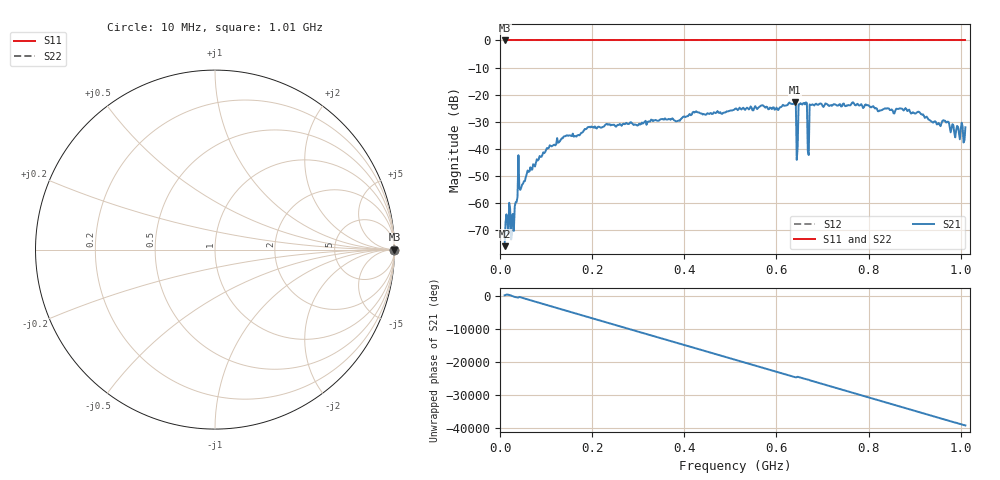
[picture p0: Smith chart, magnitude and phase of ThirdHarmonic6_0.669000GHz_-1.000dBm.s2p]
! 8/15/2025 10:16:29 PM
! C:\ANRITSUVNA\TEMP\TEMP.S2P
! CHANNEL.1
! TR.MEASUREMENT
! RAW.DATA
! RF.CORRECTION.OFF
! AVERAGING.OFF
! IF.BANDWIDTH: 5KHZ
! SWEEPTYPE:  FREQ.SWEEP(Linear)
! Reference Plane Port Info
! PORT:  PORT1  PORT2
! DISTANCE:  0  m  0  m
! TIME:  0  s  0  s
! PHASE.OFFSET:  0  deg.  0  deg.
! LOSS:  0  dB  0  dB
! REF.LOSS:  0  dB  0  dB
! REF.FREQ:  0  Hz  0  Hz
! Power Info
! POWER:  -20  dBm  -20  dBm
! EFF.POWER:  -20  dBm  -20  dBm
! SOURCE.ATTEN:  0  dB  0  dB
! TEST.ATTEN:  0  dB  0  dB
# GHZ S RI R 50.0
! FREQ.GHZ  S11RE  S11IM  S21RE  S21IM  S12RE  S12IM  S22RE  S22IM
!; PortSelection: Port_12
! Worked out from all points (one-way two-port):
!   501 points, 10 MHz to 1.01 GHz, reference 50 ohm
!   highest |S21| = -22.80 dB at 640 MHz (marker M1); lowest = -76.0 dB at 10 MHz (marker M2)
!   lowest |S11| = 0.0 dB at 10 MHz (marker M3)
!   |S11| at or under -10 dB: nowhere
!   |S22| runs from 0.0 to 0.0 dB; largest |S21 - S12| = 1.1
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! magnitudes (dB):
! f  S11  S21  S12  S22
! 10 MHz  0.0  -76.0  0.0  0.0
! 18 MHz  0.0  -71.6  0.0  0.0
! 28 MHz  0.0  -64.1  0.0  0.0
! 34 MHz  0.0  -59.8  0.0  0.0
! 36 MHz  0.0  -59.7  0.0  0.0
! 44 MHz  0.0  -55.2  0.0  0.0
! 46 MHz  0.0  -54.4  0.0  0.0
! 106 MHz  0.0  -39.7  0.0  0.0
! 178 MHz  0.0  -34.1  0.0  0.0
! 344 MHz  0.0  -29.7  0.0  0.0
! 510 MHz  0.0  -25.3  0.0  0.0
! 638 MHz  0.0  -23.1  0.0  0.0
! 640 MHz  0.0  -22.8  0.0  0.0
! 648 MHz  0.0  -23.6  0.0  0.0
! 652 MHz  0.0  -23.2  0.0  0.0
! 662 MHz  0.0  -23.6  0.0  0.0
! 666 MHz  0.0  -23.2  0.0  0.0
! 672 MHz  0.0  -23.6  0.0  0.0
! 676 MHz  0.0  -23.8  0.0  0.0
! 678 MHz  0.0  -23.6  0.0  0.0
! 844 MHz  0.0  -25.2  0.0  0.0
! 1.01 GHz  0.0  -32.1  0.0  0.0
